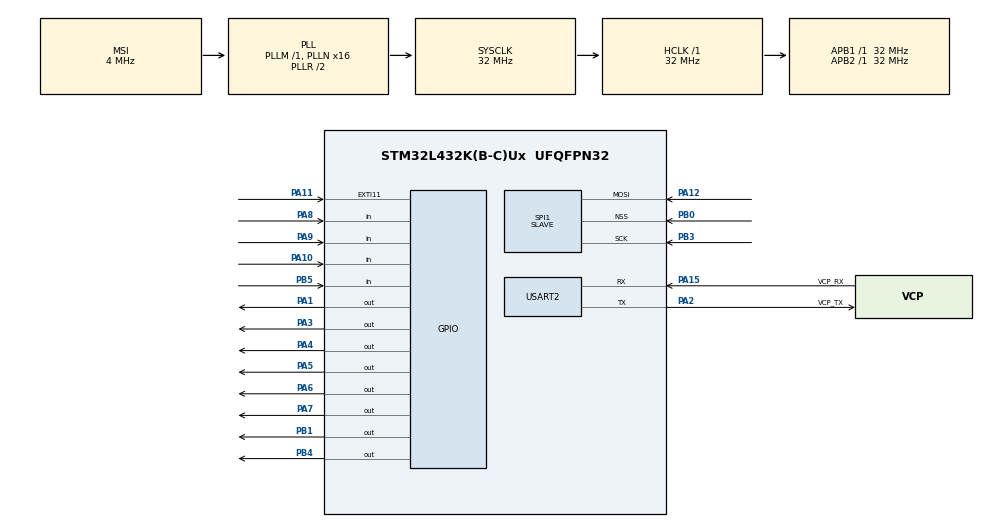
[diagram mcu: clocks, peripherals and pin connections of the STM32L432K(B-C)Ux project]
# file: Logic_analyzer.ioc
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Mcu.Family=STM32L4
Mcu.Name=STM32L432K(B-C)Ux
Mcu.Package=UFQFPN32
NVIC.EXTI15_10_IRQn=true\:0\:0\:false\:false\:true\:true\:true\:true
NVIC.PriorityGroup=NVIC_PRIORITYGROUP_4
NVIC.SPI1_IRQn=true\:0\:0\:false\:false\:true\:true\:true\:true
PA0.GPIO_Label=MCO [High speed clock in]
PA0.Mode=HSE-External-Clock-Source-for-LittleOrca
PA0.Signal=RCC_CK_IN
PA1.Signal=GPIO_Output
PA10.GPIO_PuPd=GPIO_PULLUP
PA10.Signal=GPIO_Input
PA11.GPIO_ModeDefaultEXTI=GPIO_MODE_IT_RISING_FALLING
PA11.Signal=GPXTI11
PA12.Mode=RX_Only_Simplex_Unidirect_Slave
PA12.Signal=SPI1_MOSI
PA13\ (JTMS-SWDIO).GPIO_Label=SWDIO
PA13\ (JTMS-SWDIO).Mode=Serial_Wire
PA13\ (JTMS-SWDIO).Signal=SYS_JTMS-SWDIO
PA14\ (JTCK-SWCLK).GPIO_Label=SWCLK
PA14\ (JTCK-SWCLK).Mode=Serial_Wire
PA14\ (JTCK-SWCLK).Signal=SYS_JTCK-SWCLK
PA15\ (JTDI).GPIO_Label=VCP_RX
PA15\ (JTDI).Mode=Asynchronous
PA15\ (JTDI).Signal=USART2_RX
PA2.GPIO_Label=VCP_TX
PA2.Mode=Asynchronous
PA2.Signal=USART2_TX
PA3.GPIO_Speed=GPIO_SPEED_FREQ_HIGH
PA3.Signal=GPIO_Output
PA4.Signal=GPIO_Output
PA5.Signal=GPIO_Output
PA6.Signal=GPIO_Output
PA7.Signal=GPIO_Output
PA8.GPIO_PuPd=GPIO_PULLUP
PA8.Signal=GPIO_Input
PA9.GPIO_PuPd=GPIO_PULLUP
PA9.Signal=GPIO_Input
PB0.Mode=NSS_Signal_Hard_Input
PB0.Signal=SPI1_NSS
PB1.Signal=GPIO_Output
PB3\ (JTDO-TRACESWO).Mode=RX_Only_Simplex_Unidirect_Slave
PB3\ (JTDO-TRACESWO).Signal=SPI1_SCK
PB4\ (NJTRST).Signal=GPIO_Output
PB5.GPIO_PuPd=GPIO_PULLDOWN
PB5.Signal=GPIO_Input
PC14-OSC32_IN\ (PC14).Mode=LSE-External-Oscillator
PC14-OSC32_IN\ (PC14).Signal=RCC_OSC32_IN
PC15-OSC32_OUT\ (PC15).Mode=LSE-External-Oscillator
PC15-OSC32_OUT\ (PC15).Signal=RCC_OSC32_OUT
ProjectManager.HeapSize=0x200
ProjectManager.StackSize=0x400
ProjectManager.TargetToolchain=STM32CubeIDE
RCC.AHBFreq_Value=32000000
RCC.APB1Freq_Value=32000000
RCC.APB1TimFreq_Value=32000000
RCC.APB2Freq_Value=32000000
RCC.APB2TimFreq_Value=32000000
RCC.CortexFreq_Value=32000000
RCC.HCLKFreq_Value=32000000
RCC.HSE_VALUE=8000000
RCC.HSI16_VALUE=16000000
RCC.HSI48_VALUE=48000000
RCC.HSI_VALUE=16000000
RCC.MSI_VALUE=4000000
RCC.PLLMUL=RCC_PLLMUL_4
RCC.PLLN=16
RCC.SYSCLKFreq_VALUE=32000000
RCC.SYSCLKSource=RCC_SYSCLKSOURCE_PLLCLK
RCC.VCOOutputFreq_Value=64000000
SPI1.CLKPhase=SPI_PHASE_2EDGE
SPI1.DataSize=SPI_DATASIZE_8BIT
SPI1.Direction=SPI_DIRECTION_2LINES_RXONLY
SPI1.FirstBit=SPI_FIRSTBIT_MSB
SPI1.Mode=SPI_MODE_SLAVE
SPI1.VirtualNSS=VM_NSSHARD
SPI1.VirtualType=VM_SLAVE
TIM6.Prescaler=16
TIM7.Prescaler=16
USART2.VirtualMode-Asynchronous=VM_ASYNC
VP_TIM6_VS_ClockSourceINT.Mode=Enable_Timer
VP_TIM7_VS_ClockSourceINT.Mode=Enable_Timer
board=NUCLEO-L432KC

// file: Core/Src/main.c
/* USER CODE BEGIN Header */
/**
  ******************************************************************************
  * @file           : main.c
  * @brief          : Main program body
  ******************************************************************************
  * @attention
  *
  * Copyright (c) 2025 STMicroelectronics.
  * All rights reserved.
  *
  * This software is licensed under terms that can be found in the LICENSE file
  * in the root directory of this software component.
  * If no LICENSE file comes with this software, it is provided AS-IS.
  *
  ******************************************************************************
  */
/* USER CODE END Header */
#include "main.h"

/* USER CODE BEGIN Includes */
#include "ALPHA_display_driver.h"
#include "M2_interpreter.h"
#include "artist.h"
#include "display.h"
#include "queue.h"
#include "SoftwareSPI.h"
#include "mode1TimerISR.h"
#include "mode1Source.h"
#include "dataCollection.h"
/* USER CODE END Includes */

TIM_HandleTypeDef htim7;

UART_HandleTypeDef huart2;

void SystemClock_Config(void);
static void MX_GPIO_Init(void);
static void MX_USART2_UART_Init(void);
static void MX_SPI1_Init(void);
static void MX_TIM6_Init(void);
static void MX_TIM7_Init(void);

int main(void)
{

  /* MCU Configuration--------------------------------------------------------*/

  /* Reset of all peripherals, Initializes the Flash interface and the Systick. */
  HAL_Init();

  /* Configure the system clock */
  SystemClock_Config();

  /* Initialize all configured peripherals */
  MX_GPIO_Init();
  MX_USART2_UART_Init();
  MX_SPI1_Init();
  MX_TIM6_Init();
  MX_TIM7_Init();
  /* USER CODE BEGIN 2 */

  SPI1->CR1 |= SPI_CR1_SPE_Msk; // Enabling SPI1
  SPI1->CR2 |= SPI_CR2_RXNEIE_Msk; // Enable receive interrupts
  __enable_irq();

  init_all_queues();

  initSampleTimer();

  init_display();
  SW_SPI();

  lcd_init();
  //displayClear(); // this is the problem function ATM

  /* USER CODE END 2 */

  /* Infinite loop */
  /* USER CODE BEGIN WHILE */

  while (1)
  {
	GPIOA->ODR ^= (1<<3); // for performance

	// Check Encoder
	checkEncoderInputs();
	// Check/Update Button
	checkButtonFSM();
	// Checking trigger edges
	checkTriggerEdges();

	//Comment
	TIM7_DAC_IRQHandler();
	//Comment
	dataCollectionTask();

	// Update the character display
	update_char_display();
	// Draw the current trace inputs onto the main display
	draw();
	//Monitor Interrupt Flags & Queues
	monitor_M2_IT_flags();
	monitor_queues();

	// Run Software SPI Outputs
	SW_SPI();

    /* USER CODE END WHILE */

  }
}

void SystemClock_Config(void)
{
  RCC_OscInitTypeDef RCC_OscInitStruct = {0};
  RCC_ClkInitTypeDef RCC_ClkInitStruct = {0};

  /** Configure the main internal regulator output voltage
  */
  if (HAL_PWREx_ControlVoltageScaling(PWR_REGULATOR_VOLTAGE_SCALE1) != HAL_OK)
  {
    Error_Handler();
  }

  /** Configure LSE Drive Capability
  */
  HAL_PWR_EnableBkUpAccess();
  __HAL_RCC_LSEDRIVE_CONFIG(RCC_LSEDRIVE_LOW);

  /** Initializes the RCC Oscillators according to the specified parameters
  * in the RCC_OscInitTypeDef structure.
  */
  RCC_OscInitStruct.OscillatorType = RCC_OSCILLATORTYPE_LSE|RCC_OSCILLATORTYPE_MSI;
  RCC_OscInitStruct.LSEState = RCC_LSE_ON;
  RCC_OscInitStruct.MSIState = RCC_MSI_ON;
  RCC_OscInitStruct.MSICalibrationValue = 0;
  RCC_OscInitStruct.MSIClockRange = RCC_MSIRANGE_6;
  RCC_OscInitStruct.PLL.PLLState = RCC_PLL_ON;
  RCC_OscInitStruct.PLL.PLLSource = RCC_PLLSOURCE_MSI;
  RCC_OscInitStruct.PLL.PLLM = 1;
  RCC_OscInitStruct.PLL.PLLN = 16;
  RCC_OscInitStruct.PLL.PLLP = RCC_PLLP_DIV7;
  RCC_OscInitStruct.PLL.PLLQ = RCC_PLLQ_DIV2;
  RCC_OscInitStruct.PLL.PLLR = RCC_PLLR_DIV2;
  if (HAL_RCC_OscConfig(&RCC_OscInitStruct) != HAL_OK)
  {
    Error_Handler();
  }

  /** Initializes the CPU, AHB and APB buses clocks
  */
  RCC_ClkInitStruct.ClockType = RCC_CLOCKTYPE_HCLK|RCC_CLOCKTYPE_SYSCLK
                              |RCC_CLOCKTYPE_PCLK1|RCC_CLOCKTYPE_PCLK2;
  RCC_ClkInitStruct.SYSCLKSource = RCC_SYSCLKSOURCE_PLLCLK;
  RCC_ClkInitStruct.AHBCLKDivider = RCC_SYSCLK_DIV1;
  RCC_ClkInitStruct.APB1CLKDivider = RCC_HCLK_DIV1;
  RCC_ClkInitStruct.APB2CLKDivider = RCC_HCLK_DIV1;

  if (HAL_RCC_ClockConfig(&RCC_ClkInitStruct, FLASH_LATENCY_1) != HAL_OK)
  {
    Error_Handler();
  }

  /** Enable MSI Auto calibration
  */
  HAL_RCCEx_EnableMSIPLLMode();
}

static void MX_SPI1_Init(void)
{

  LL_SPI_InitTypeDef SPI_InitStruct = {0};

  LL_GPIO_InitTypeDef GPIO_InitStruct = {0};

  /* Peripheral clock enable */
  LL_APB2_GRP1_EnableClock(LL_APB2_GRP1_PERIPH_SPI1);

  LL_AHB2_GRP1_EnableClock(LL_AHB2_GRP1_PERIPH_GPIOB);
  LL_AHB2_GRP1_EnableClock(LL_AHB2_GRP1_PERIPH_GPIOA);
  /**SPI1 GPIO Configuration
  PB0   ------> SPI1_NSS
  PA12   ------> SPI1_MOSI
  PB3 (JTDO-TRACESWO)   ------> SPI1_SCK
  */
  GPIO_InitStruct.Pin = LL_GPIO_PIN_0|LL_GPIO_PIN_3;
  GPIO_InitStruct.Mode = LL_GPIO_MODE_ALTERNATE;
  GPIO_InitStruct.Speed = LL_GPIO_SPEED_FREQ_VERY_HIGH;
  GPIO_InitStruct.OutputType = LL_GPIO_OUTPUT_PUSHPULL;
  GPIO_InitStruct.Pull = LL_GPIO_PULL_NO;
  GPIO_InitStruct.Alternate = LL_GPIO_AF_5;
  LL_GPIO_Init(GPIOB, &GPIO_InitStruct);

  GPIO_InitStruct.Pin = LL_GPIO_PIN_12;
  GPIO_InitStruct.Mode = LL_GPIO_MODE_ALTERNATE;
  GPIO_InitStruct.Speed = LL_GPIO_SPEED_FREQ_VERY_HIGH;
  GPIO_InitStruct.OutputType = LL_GPIO_OUTPUT_PUSHPULL;
  GPIO_InitStruct.Pull = LL_GPIO_PULL_NO;
  GPIO_InitStruct.Alternate = LL_GPIO_AF_5;
  LL_GPIO_Init(GPIOA, &GPIO_InitStruct);

  /* SPI1 interrupt Init */
  NVIC_SetPriority(SPI1_IRQn, NVIC_EncodePriority(NVIC_GetPriorityGrouping(),0, 0));
  NVIC_EnableIRQ(SPI1_IRQn);

  /* SPI1 parameter configuration*/
  SPI_InitStruct.TransferDirection = LL_SPI_SIMPLEX_RX;
  SPI_InitStruct.Mode = LL_SPI_MODE_SLAVE;
  SPI_InitStruct.DataWidth = LL_SPI_DATAWIDTH_8BIT;
  SPI_InitStruct.ClockPolarity = LL_SPI_POLARITY_LOW;
  SPI_InitStruct.ClockPhase = LL_SPI_PHASE_2EDGE;
  SPI_InitStruct.NSS = LL_SPI_NSS_HARD_INPUT;
  SPI_InitStruct.BitOrder = LL_SPI_MSB_FIRST;
  SPI_InitStruct.CRCCalculation = LL_SPI_CRCCALCULATION_DISABLE;
  SPI_InitStruct.CRCPoly = 7;
  LL_SPI_Init(SPI1, &SPI_InitStruct);
  LL_SPI_SetStandard(SPI1, LL_SPI_PROTOCOL_MOTOROLA);
  LL_SPI_DisableNSSPulseMgt(SPI1);

}

static void MX_TIM6_Init(void)
{

  LL_TIM_InitTypeDef TIM_InitStruct = {0};

  /* Peripheral clock enable */
  LL_APB1_GRP1_EnableClock(LL_APB1_GRP1_PERIPH_TIM6);

  TIM_InitStruct.Prescaler = 16;
  TIM_InitStruct.CounterMode = LL_TIM_COUNTERMODE_UP;
  TIM_InitStruct.Autoreload = 65535;
  LL_TIM_Init(TIM6, &TIM_InitStruct);
  LL_TIM_DisableARRPreload(TIM6);
  LL_TIM_SetTriggerOutput(TIM6, LL_TIM_TRGO_RESET);
  LL_TIM_DisableMasterSlaveMode(TIM6);

}

static void MX_TIM7_Init(void)
{

  TIM_MasterConfigTypeDef sMasterConfig = {0};

  htim7.Instance = TIM7;
  htim7.Init.Prescaler = 16;
  htim7.Init.CounterMode = TIM_COUNTERMODE_UP;
  htim7.Init.Period = 65535;
  htim7.Init.AutoReloadPreload = TIM_AUTORELOAD_PRELOAD_DISABLE;
  if (HAL_TIM_Base_Init(&htim7) != HAL_OK)
  {
    Error_Handler();
  }
  sMasterConfig.MasterOutputTrigger = TIM_TRGO_RESET;
  sMasterConfig.MasterSlaveMode = TIM_MASTERSLAVEMODE_DISABLE;
  if (HAL_TIMEx_MasterConfigSynchronization(&htim7, &sMasterConfig) != HAL_OK)
  {
    Error_Handler();
  }

}

static void MX_USART2_UART_Init(void)
{

  huart2.Instance = USART2;
  huart2.Init.BaudRate = 115200;
  huart2.Init.WordLength = UART_WORDLENGTH_8B;
  huart2.Init.StopBits = UART_STOPBITS_1;
  huart2.Init.Parity = UART_PARITY_NONE;
  huart2.Init.Mode = UART_MODE_TX_RX;
  huart2.Init.HwFlowCtl = UART_HWCONTROL_NONE;
  huart2.Init.OverSampling = UART_OVERSAMPLING_16;
  huart2.Init.OneBitSampling = UART_ONE_BIT_SAMPLE_DISABLE;
  huart2.AdvancedInit.AdvFeatureInit = UART_ADVFEATURE_NO_INIT;
  if (HAL_UART_Init(&huart2) != HAL_OK)
  {
    Error_Handler();
  }

}

static void MX_GPIO_Init(void)
{
  LL_EXTI_InitTypeDef EXTI_InitStruct = {0};
  LL_GPIO_InitTypeDef GPIO_InitStruct = {0};

  /* GPIO Ports Clock Enable */
  LL_AHB2_GRP1_EnableClock(LL_AHB2_GRP1_PERIPH_GPIOC);
  LL_AHB2_GRP1_EnableClock(LL_AHB2_GRP1_PERIPH_GPIOA);
  LL_AHB2_GRP1_EnableClock(LL_AHB2_GRP1_PERIPH_GPIOB);

  /**/
  LL_GPIO_ResetOutputPin(GPIOA, LL_GPIO_PIN_1|LL_GPIO_PIN_3|LL_GPIO_PIN_4|LL_GPIO_PIN_5
                          |LL_GPIO_PIN_6|LL_GPIO_PIN_7);

  /**/
  LL_GPIO_ResetOutputPin(GPIOB, LL_GPIO_PIN_1|LL_GPIO_PIN_4);

  /**/
  GPIO_InitStruct.Pin = LL_GPIO_PIN_1|LL_GPIO_PIN_4|LL_GPIO_PIN_5|LL_GPIO_PIN_6
                          |LL_GPIO_PIN_7;
  GPIO_InitStruct.Mode = LL_GPIO_MODE_OUTPUT;
  GPIO_InitStruct.Speed = LL_GPIO_SPEED_FREQ_LOW;
  GPIO_InitStruct.OutputType = LL_GPIO_OUTPUT_PUSHPULL;
  GPIO_InitStruct.Pull = LL_GPIO_PULL_NO;
  LL_GPIO_Init(GPIOA, &GPIO_InitStruct);

  /**/
  GPIO_InitStruct.Pin = LL_GPIO_PIN_3;
  GPIO_InitStruct.Mode = LL_GPIO_MODE_OUTPUT;
  GPIO_InitStruct.Speed = LL_GPIO_SPEED_FREQ_HIGH;
  GPIO_InitStruct.OutputType = LL_GPIO_OUTPUT_PUSHPULL;
  GPIO_InitStruct.Pull = LL_GPIO_PULL_NO;
  LL_GPIO_Init(GPIOA, &GPIO_InitStruct);

  /**/
  GPIO_InitStruct.Pin = LL_GPIO_PIN_1|LL_GPIO_PIN_4;
  GPIO_InitStruct.Mode = LL_GPIO_MODE_OUTPUT;
  GPIO_InitStruct.Speed = LL_GPIO_SPEED_FREQ_LOW;
  GPIO_InitStruct.OutputType = LL_GPIO_OUTPUT_PUSHPULL;
  GPIO_InitStruct.Pull = LL_GPIO_PULL_NO;
  LL_GPIO_Init(GPIOB, &GPIO_InitStruct);

  /**/
  GPIO_InitStruct.Pin = LL_GPIO_PIN_8|LL_GPIO_PIN_9|LL_GPIO_PIN_10;
  GPIO_InitStruct.Mode = LL_GPIO_MODE_INPUT;
  GPIO_InitStruct.Pull = LL_GPIO_PULL_UP;
  LL_GPIO_Init(GPIOA, &GPIO_InitStruct);

  /**/
  GPIO_InitStruct.Pin = LL_GPIO_PIN_5;
  GPIO_InitStruct.Mode = LL_GPIO_MODE_INPUT;
  GPIO_InitStruct.Pull = LL_GPIO_PULL_DOWN;
  LL_GPIO_Init(GPIOB, &GPIO_InitStruct);

  /**/
  LL_SYSCFG_SetEXTISource(LL_SYSCFG_EXTI_PORTA, LL_SYSCFG_EXTI_LINE11);

  /**/
  EXTI_InitStruct.Line_0_31 = LL_EXTI_LINE_11;
  EXTI_InitStruct.Line_32_63 = LL_EXTI_LINE_NONE;
  EXTI_InitStruct.LineCommand = ENABLE;
  EXTI_InitStruct.Mode = LL_EXTI_MODE_IT;
  EXTI_InitStruct.Trigger = LL_EXTI_TRIGGER_RISING_FALLING;
  LL_EXTI_Init(&EXTI_InitStruct);

  /**/
  LL_GPIO_SetPinPull(GPIOA, LL_GPIO_PIN_11, LL_GPIO_PULL_NO);

  /**/
  LL_GPIO_SetPinMode(GPIOA, LL_GPIO_PIN_11, LL_GPIO_MODE_INPUT);

  /* EXTI interrupt init*/
  NVIC_SetPriority(EXTI15_10_IRQn, NVIC_EncodePriority(NVIC_GetPriorityGrouping(),0, 0));
  NVIC_EnableIRQ(EXTI15_10_IRQn);

}

void Error_Handler(void)
{
  __disable_irq();
  while (1)
  {
  }
}
